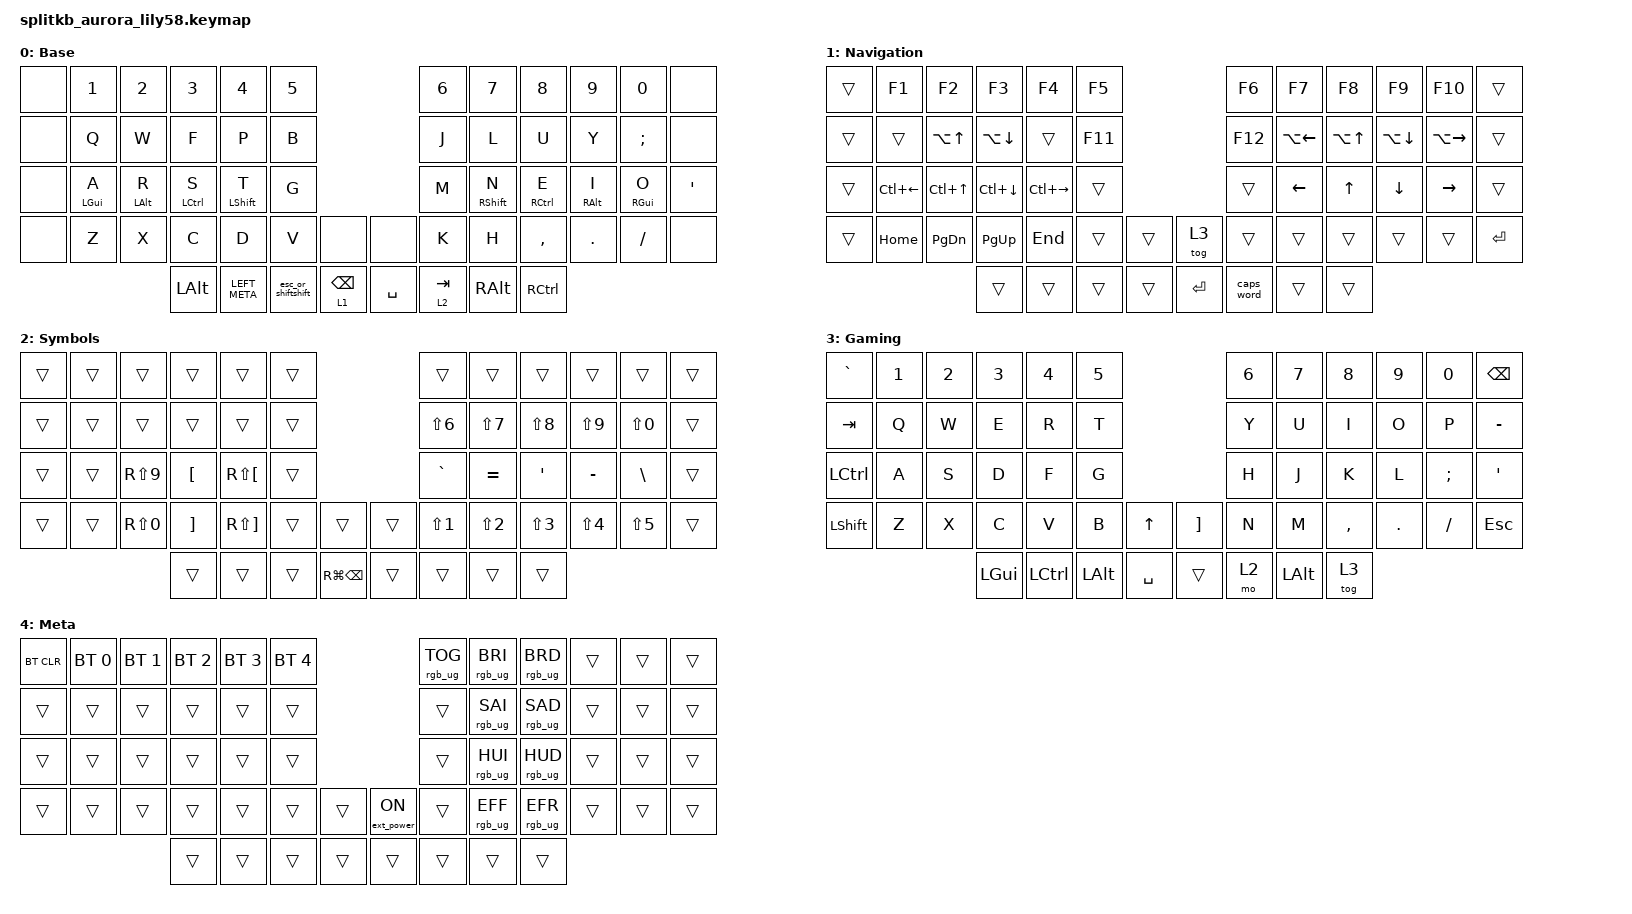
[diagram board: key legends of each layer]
/*
 * Copyright (c) 2022 The ZMK Contributors
 *
 * SPDX-License-Identifier: MIT
 */

#include <behaviors.dtsi>
#include <dt-bindings/zmk/bt.h>
#include <dt-bindings/zmk/ext_power.h>
#include <dt-bindings/zmk/keys.h>
#include <dt-bindings/zmk/rgb.h>

#define LOWER 1
#define RAISE 2
#define GAMING 3

&led_strip { chain-length = <68>; };

&caps_word { mods = <(MOD_LSFT)>; };

/ {
    combos {
        compatible = "zmk,combos";

        meta_layer {
            bindings = <&mo 4>;
            key-positions = <53 54>;
        };

        right_command {
            bindings = <&kp RIGHT_GUI>;
            key-positions = <56 45>;
        };

        return {
            bindings = <&kp RETURN>;
            key-positions = <55 44>;
        };

        option_and_enter {
            bindings = <&kp LA(ENTER)>;
            key-positions = <52 41>;
        };

        control_and_enter {
            bindings = <&kp LC(ENTER)>;
            key-positions = <51 40>;
        };
    };

    behaviors {
        shift_or_caps_word: shift_or_caps_word {
            compatible = "zmk,behavior-tap-dance";
            label = "SHIFT_OR_CAPS_WORD";
            #binding-cells = <0>;
            bindings = <&kp LEFT_SHIFT>, <&caps_word>;
        };

        hold_tap_tap_preferred: hold_tap_tap_preferred {
            compatible = "zmk,behavior-hold-tap";
            label = "HOLD_TAP_TAP_PREFERRED";
            bindings = <&kp>, <&kp>;

            #binding-cells = <2>;
            tapping-term-ms = <200>;
            flavor = "tap-preferred";
        };

        th_backspace_layer1: th_backspace_layer1 {
            compatible = "zmk,behavior-hold-tap";
            label = "TH_BACKSPACE_LAYER1";
            bindings = <&mo>, <&kp>;

            #binding-cells = <2>;
            tapping-term-ms = <200>;
            flavor = "tap-unless-interrupted";
        };

        backspace_double_tap: backspace_double_tap {
            compatible = "zmk,behavior-tap-dance";
            label = "BACKSPACE_DOUBLE_TAP";
            #binding-cells = <0>;
            bindings = <&th_backspace_layer1 1 BACKSPACE>, <&kp BACKSPACE>;

            tapping-term-ms = <200>;
        };

        esc_or_shiftshift: esc_or_shiftshift {
            compatible = "zmk,behavior-tap-dance";
            label = "ESC_OR_SHIFTSHIFT";
            #binding-cells = <0>;
            bindings = <&kp ESCAPE>, <&shiftshift>;

            tapping-term-ms = <250>;
        };

        caps_word: caps_word {
            compatible = "zmk,behavior-caps-word";
            label = "CAPS_WORD";
            #binding-cells = <0>;
            continue-list = <A B C D E F G H I J K L M N O P Q R S T U V W X Y Z UNDERSCORE BACKSPACE>;
        };
    };

    macros {
        shiftshift: shiftshift {
            compatible = "zmk,behavior-macro";
            #binding-cells = <0>;
            bindings = <&kp LEFT_SHIFT &kp LEFT_SHIFT>;
            label = "SHIFTSHIFT";
        };
    };

    keymap {
        compatible = "zmk,keymap";

        Base {
            bindings = <
&none  &kp N1                              &kp N2                              &kp N3                                  &kp N4                                &kp N5                                          &kp N6     &kp N7                                 &kp N8                                   &kp N9                               &kp N0                               &none
&none  &kp Q                               &kp W                               &kp F                                   &kp P                                 &kp B                                           &kp J      &kp L                                  &kp U                                    &kp Y                                &kp SEMI                             &none
&none  &hold_tap_tap_preferred LEFT_GUI A  &hold_tap_tap_preferred LEFT_ALT R  &hold_tap_tap_preferred LEFT_CONTROL S  &hold_tap_tap_preferred LEFT_SHIFT T  &kp G                                           &kp M      &hold_tap_tap_preferred RIGHT_SHIFT N  &hold_tap_tap_preferred RIGHT_CONTROL E  &hold_tap_tap_preferred RIGHT_ALT I  &hold_tap_tap_preferred RIGHT_GUI O  &kp SINGLE_QUOTE
&none  &kp Z                               &kp X                               &kp C                                   &kp D                                 &kp V               &none            &none      &kp K      &kp H                                  &kp COMMA                                &kp DOT                              &kp FSLH                             &none
                                                                               &kp LALT                                &kp LEFT_META                         &esc_or_shiftshift  &lt 1 BACKSPACE  &kp SPACE  &lt 2 TAB  &kp RIGHT_ALT                          &kp RIGHT_CONTROL
            >;
        };

        Navigation {
            bindings = <
&trans  &kp F1              &kp F2            &kp F3              &kp F4         &kp F5                      &kp F6      &kp F7              &kp F8            &kp F9              &kp F10              &trans
&trans  &trans              &kp LA(UP_ARROW)  &kp LA(DOWN)        &trans         &kp F11                     &kp F12     &kp LA(LEFT_ARROW)  &kp LA(UP_ARROW)  &kp LA(DOWN_ARROW)  &kp LA(RIGHT_ARROW)  &trans
&trans  &kp LC(LEFT_ARROW)  &kp LC(UP_ARROW)  &kp LC(DOWN_ARROW)  &kp LC(RIGHT)  &trans                      &trans      &kp LEFT            &kp UP            &kp DOWN            &kp RIGHT            &trans
&trans  &kp HOME            &kp PAGE_DOWN     &kp PAGE_UP         &kp END        &trans   &trans  &tog 3     &trans      &trans              &trans            &trans              &trans               &kp ENTER
                                              &trans              &trans         &trans   &trans  &kp ENTER  &caps_word  &trans              &trans
            >;
        };

        Symbols {
            bindings = <
&trans  &trans  &trans            &trans             &trans                &trans                             &trans            &trans            &trans            &trans            &trans            &trans
&trans  &trans  &trans            &trans             &trans                &trans                             &kp LS(NUMBER_6)  &kp LS(NUMBER_7)  &kp LS(NUMBER_8)  &kp LS(NUMBER_9)  &kp LS(NUMBER_0)  &trans
&trans  &trans  &kp RS(NUMBER_9)  &kp LEFT_BRACKET   &kp RS(LEFT_BRACKET)  &trans                             &kp GRAVE         &kp EQUAL         &kp APOS          &kp MINUS         &kp BSLH          &trans
&trans  &trans  &kp RS(NUMBER_0)  &kp RIGHT_BRACKET  &kp RS(RBKT)          &trans  &trans             &trans  &kp LS(NUMBER_1)  &kp LS(NUMBER_2)  &kp LS(NUMBER_3)  &kp LS(NUMBER_4)  &kp LS(N5)        &trans
                                  &trans             &trans                &trans  &kp RG(BACKSPACE)  &trans  &trans            &trans            &trans
            >;
        };

        Gaming {
            bindings = <
&kp GRAVE         &kp N1  &kp N2  &kp N3        &kp N4            &kp N5                             &kp N6  &kp N7    &kp N8     &kp N9   &kp N0    &kp BACKSPACE
&kp TAB           &kp Q   &kp W   &kp E         &kp R             &kp T                              &kp Y   &kp U     &kp I      &kp O    &kp P     &kp MINUS
&kp LEFT_CONTROL  &kp A   &kp S   &kp D         &kp F             &kp G                              &kp H   &kp J     &kp K      &kp L    &kp SEMI  &kp SQT
&kp LEFT_SHIFT    &kp Z   &kp X   &kp C         &kp V             &kp B         &kp UP     &kp RBKT  &kp N   &kp M     &kp COMMA  &kp DOT  &kp FSLH  &kp ESCAPE
                                  &kp LEFT_GUI  &kp LEFT_CONTROL  &kp LEFT_ALT  &kp SPACE  &trans    &mo 2   &kp LALT  &tog 3
            >;
        };

        Meta {
            bindings = <
&bt BT_CLR  &bt BT_SEL 0  &bt BT_SEL 1  &bt BT_SEL 2  &bt BT_SEL 3  &bt BT_SEL 4                            &rgb_ug RGB_TOG  &rgb_ug RGB_BRI  &rgb_ug RGB_BRD  &trans  &trans  &trans
&trans      &trans        &trans        &trans        &trans        &trans                                  &trans           &rgb_ug RGB_SAI  &rgb_ug RGB_SAD  &trans  &trans  &trans
&trans      &trans        &trans        &trans        &trans        &trans                                  &trans           &rgb_ug RGB_HUI  &rgb_ug RGB_HUD  &trans  &trans  &trans
&trans      &trans        &trans        &trans        &trans        &trans        &trans  &ext_power EP_ON  &trans           &rgb_ug RGB_EFF  &rgb_ug RGB_EFR  &trans  &trans  &trans
                                        &trans        &trans        &trans        &trans  &trans            &trans           &trans           &trans
            >;
        };
    };
};
